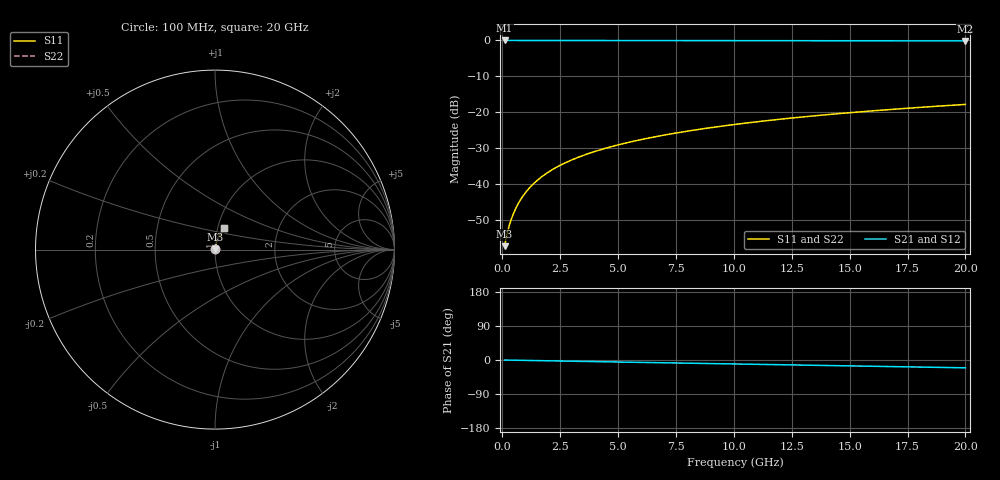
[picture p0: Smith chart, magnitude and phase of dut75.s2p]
! Touchstone file exported from HFSS 2026.1.0
!  File:  C:/ffzhzh/LocalFiles/Ansys_Project_Files/temp_train_TMRDL_75_1782881258_13352.aedt
!  Generated:  12:48:48 PM Jul  1, 2026
!  Design:  TMRDL
!  Project:  temp_train_TMRDL_75_1782881258_13352
! Variables:
!  h_bsmrdl = 2um
!  h_ox = 20um
!  h_rdl = 5um
!  h_sub = 80um
!  h_tmrdl = 5.87um
!  h_tsv = 80um
!  h_via = 3um
!  l_bsmrdl = 300um
!  l_sub = 726.69um
!  l_tmrdl = 326.69um
!  m_sub = 200um
!  pitch = 36.6um
!  r_tsv = 6um
!  s_tmrdl = 10um
!  w_bsmrdl = 18um
!  w_sub = 500um
!  w_tmrdl = 22.26um
!  x_tsv_center1 = 337.82um
!  x_tsv_center2 = 655.82um
!  x_tsv_center3 = 1004.77um
!  x_tsv_center4 = 1322.77um
!  x_tsv_center5 = 1671.72um
!  x_tsv_center6 = 1989.72um
# GHz S MA R 50.000000
! Terminal data exported
! Port[1] = TM_RDL1_1_T1
! Port[2] = TM_RDL1_1_T2
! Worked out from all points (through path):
!   200 points, 100 MHz to 20 GHz, reference 50 ohm
!   highest |S21| = -0.01 dB at 100 MHz (marker M1); lowest = -0.1 dB at 20 GHz (marker M2)
!   group delay of S21, straight-line fit = 2.86 ps
!   lowest |S11| = -57.3 dB at 100 MHz (marker M3), VSWR 1.00, Z = 50.1 + j0.0869 ohm
!   |S11| at or under -10 dB: start of sweep to end of sweep
!   |S22| runs from -57.3 to -17.8 dB; largest |S21 - S12| = 8e-15
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0.1  0.001364 39.5  0.9989 -0.1  0.9989 -0.1  0.001364 39.5
! Gamma 0 0 0 0
! Port Impedance 50 0 50 0
0.2  0.001987 54.5  0.9988 -0.2  0.9988 -0.2  0.001987 54.5
0.3  0.002635 62.5  0.9988 -0.3  0.9988 -0.3  0.002636 62.5
0.4  0.003309 67.6  0.9987 -0.4  0.9987 -0.4  0.003309 67.6
0.5  0.004001 71.0  0.9987 -0.5  0.9987 -0.5  0.004001 71.0
0.6  0.004706 73.4  0.9986 -0.7  0.9986 -0.7  0.004706 73.4
0.8  0.006136 76.4  0.9986 -0.9  0.9986 -0.9  0.006136 76.4
1.1  0.0083 78.7  0.9984 -1.2  0.9984 -1.2  0.008299 78.7
1.3  0.009742 79.6  0.9984 -1.4  0.9984 -1.4  0.009741 79.6
1.5  0.01118 80.1  0.9983 -1.6  0.9983 -1.6  0.01118 80.1
1.8  0.01332 80.5  0.9981 -1.9  0.9981 -1.9  0.01332 80.5
2.1  0.01544 80.7  0.9979 -2.3  0.9979 -2.3  0.01544 80.7
2.7  0.01962 80.6  0.9976 -2.9  0.9976 -2.9  0.01962 80.6
3.5  0.02508 80.3  0.9971 -3.7  0.9971 -3.7  0.02508 80.3
4.2  0.02978 79.9  0.9966 -4.5  0.9966 -4.5  0.02978 79.9
5  0.03507 79.3  0.9961 -5.3  0.9961 -5.3  0.03507 79.3
6.8  0.04682 78.0  0.995 -7.2  0.995 -7.2  0.04682 78.0
8.3  0.05649 76.9  0.994 -8.7  0.994 -8.7  0.05649 76.8
10.1  0.06797 75.4  0.9928 -10.6  0.9928 -10.6  0.06797 75.3
13.4  0.08866 72.5  0.9905 -13.9  0.9905 -13.9  0.08866 72.4
16.7  0.1088 69.4  0.9878 -17.3  0.9878 -17.3  0.1088 69.4
20  0.1285 66.4  0.9849 -20.6  0.9849 -20.6  0.1285 66.3
